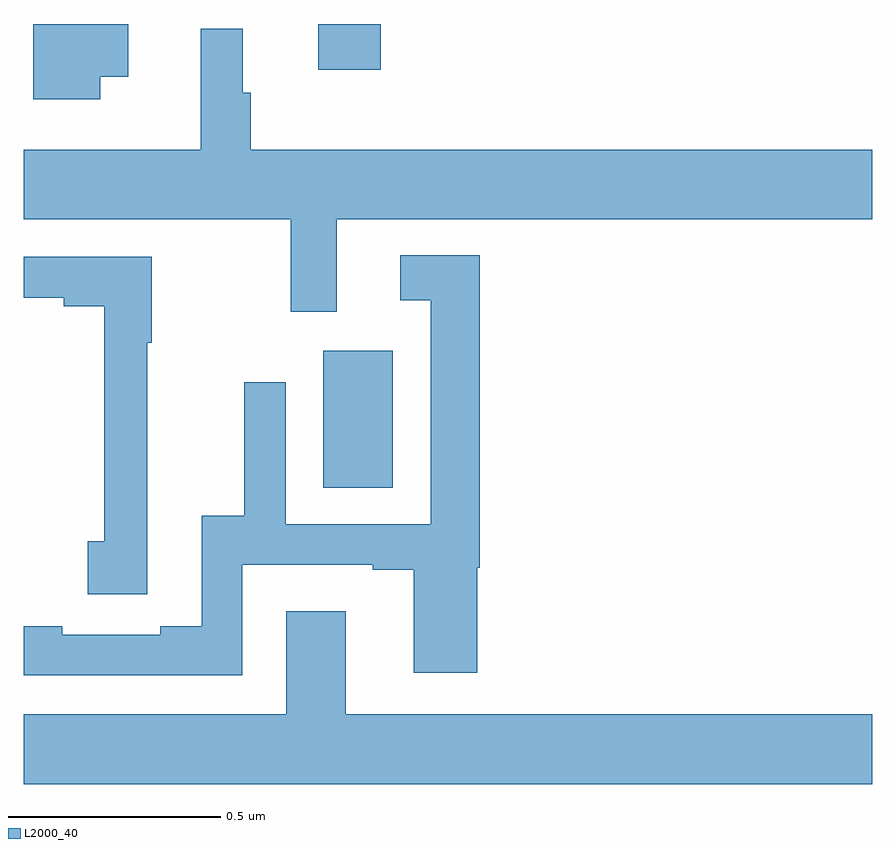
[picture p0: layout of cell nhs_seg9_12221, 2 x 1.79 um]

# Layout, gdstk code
import gdstk
lib = gdstk.Library(unit=1e-6, precision=1e-09)
def R(c, l, rs):  # rectangles x0, y0, x1, y1
    for r in rs: c.add(gdstk.rectangle(r[:2], r[2:], *l))
def P(c, l, *ps):  # polygons
    for p in ps: c.add(gdstk.Polygon(p, *l))
L2000_40 = (2000, 40)

nhs_seg9_12221 = lib.new_cell('nhs_seg9_12221')
R(nhs_seg9_12221, L2000_40, [(265.706,1242.406,265.87,1242.73), (265.694,1243.392,265.841,1243.5)])
P(nhs_seg9_12221, L2000_40, [(265.18,1243.376),(265.246,1243.376),(265.246,1243.5),(265.022,1243.5),(265.022,1243.323),(265.18,1243.323)],
  [(265.535,1243.338),(265.516,1243.338),(265.516,1243.489),(265.417,1243.489),(265.417,1243.204),(265,1243.204),(265,1243.04),(265.629,1243.04),(265.629,1242.822),(265.738,1242.822),(265.738,1243.04),(267,1243.04),(267,1243.204),(265.535,1243.204)],
  [(265.515,1242.225),(265.823,1242.225),(265.823,1242.213),(265.919,1242.213),(265.919,1241.97),(266.069,1241.97),(266.069,1242.218),(266.075,1242.218),(266.075,1242.955),(265.887,1242.955),(265.887,1242.849),(265.959,1242.849),(265.959,1242.321),(265.617,1242.321),(265.617,1242.655),(265.519,1242.655),(265.519,1242.341),(265.419,1242.341),(265.419,1242.08),(265.322,1242.08),(265.322,1242.06),(265.09,1242.06),(265.09,1242.08),(265,1242.08),(265,1241.964),(265.515,1241.964)],
  [(265.291,1242.748),(265.301,1242.748),(265.301,1242.951),(265,1242.951),(265,1242.855),(265.094,1242.855),(265.094,1242.835),(265.19,1242.835),(265.19,1242.28),(265.151,1242.28),(265.151,1242.156),(265.291,1242.156)],
  [(267,1241.872),(265.759,1241.872),(265.759,1242.115),(265.619,1242.115),(265.619,1241.872),(265,1241.872),(265,1241.708),(267,1241.708)])

lib.write_gds('nhs_seg9_12221.gds')
